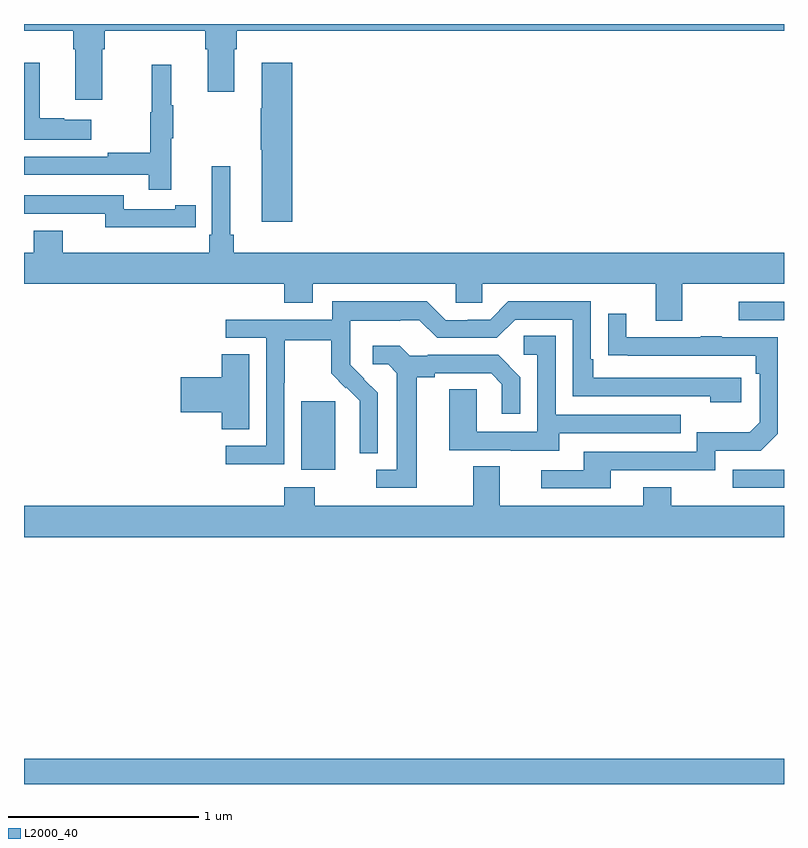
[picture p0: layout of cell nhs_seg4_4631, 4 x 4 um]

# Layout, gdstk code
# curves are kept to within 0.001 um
import gdstk
lib = gdstk.Library(unit=1e-6, precision=1e-09)
def R(c, l, rs):  # rectangles x0, y0, x1, y1
    for r in rs: c.add(gdstk.rectangle(r[:2], r[2:], *l))
def P(c, l, *ps):  # polygons
    for p in ps: c.add(gdstk.Polygon(p, *l))
L2000_40 = (2000, 40)

nhs_seg4_4631 = lib.new_cell('nhs_seg4_4631')
R(nhs_seg4_4631, L2000_40, [(361,748.9,365,749.032), (364.731,750.459,365,750.555), (362.459,750.554,362.638,750.915), (364.761,751.341,365,751.437)])
P(nhs_seg4_4631, L2000_40, [(361.411,752.768),(361.424,752.768),(361.424,752.864),(361.955,752.864),(361.955,752.768),(361.967,752.768),(361.967,752.544),(362.107,752.544),(362.107,752.768),(362.12,752.768),(362.12,752.864),(365,752.864),(365,752.9),(361,752.9),(361,752.864),(361.259,752.864),(361.259,752.768),(361.271,752.768),(361.271,752.502),(361.411,752.502)],
  [(361.354,752.395),(361.211,752.395),(361.211,752.405),(361.084,752.405),(361.084,752.695),(361,752.695),(361,752.291),(361.354,752.291)],
  [(362.411,752.695),(362.252,752.695),(362.252,752.456),(362.245,752.456),(362.245,752.239),(362.252,752.239),(362.252,751.86),(362.411,751.86)],
  [(361.775,752.299),(361.786,752.299),(361.786,752.473),(361.775,752.473),(361.775,752.686),(361.672,752.686),(361.672,752.436),(361.665,752.436),(361.665,752.222),(361.441,752.222),(361.441,752.202),(361,752.202),(361,752.106),(361.657,752.106),(361.657,752.028),(361.775,752.028)],
  [(364.465,751.532),(365,751.532),(365,751.696),(362.105,751.696),(362.105,751.792),(362.086,751.792),(362.086,752.152),(361.989,752.152),(361.989,751.792),(361.976,751.792),(361.976,751.696),(361.204,751.696),(361.204,751.813),(361.052,751.813),(361.052,751.696),(361,751.696),(361,751.532),(362.369,751.532),(362.369,751.433),(362.521,751.433),(362.521,751.532),(363.273,751.532),(363.273,751.434),(363.411,751.434),(363.411,751.532),(364.325,751.532),(364.325,751.338),(364.465,751.338)],
  [(361.796,751.83),(361.904,751.83),(361.904,751.946),(361.796,751.946),(361.796,751.926),(361.524,751.926),(361.524,751.998),(361,751.998),(361,751.902),(361.428,751.902),(361.428,751.829),(361.796,751.829)],
  [(362.37,751.012),(362.373,751.012),(362.373,751.236),(362.617,751.236),(362.617,751.061),(362.694,750.984),(362.697,750.987),(362.768,750.917),(362.768,750.794),(362.766,750.794),(362.766,750.64),(362.862,750.64),(362.862,750.958),(362.716,751.106),(362.716,751.203),(362.718,751.203),(362.718,751.337),(362.981,751.337),(362.981,751.341),(363.081,751.341),(363.174,751.248),(363.489,751.248),(363.585,751.344),(363.888,751.344),(363.888,750.942),(364.613,750.942),(364.613,750.908),(364.774,750.908),(364.774,751.038),(363.997,751.038),(363.997,751.135),(363.984,751.135),(363.984,751.44),(363.549,751.44),(363.453,751.344),(363.335,751.344),(363.335,751.341),(363.219,751.341),(363.119,751.441),(362.622,751.441),(362.622,751.344),(362.061,751.344),(362.061,751.248),(362.274,751.248),(362.274,750.681),(362.061,750.681),(362.061,750.583),(362.37,750.583)],
  [(364.087,750.552),(364.638,750.552),(364.638,750.654),(364.878,750.654),(364.968,750.744),(364.968,751.251),(364.673,751.251),(364.673,751.256),(364.561,751.256),(364.561,751.251),(364.171,751.251),(364.171,751.375),(364.075,751.375),(364.075,751.156),(364.852,751.155),(364.852,751.058),(364.872,751.058),(364.872,750.804),(364.819,750.751),(364.542,750.751),(364.542,750.648),(363.947,750.648),(363.947,750.552),(363.723,750.552),(363.723,750.456),(364.087,750.456)],
  [(363.817,750.747),(364.457,750.747),(364.457,750.843),(363.798,750.843),(363.798,751.259),(363.63,751.259),(363.63,751.158),(363.702,751.158),(363.702,750.753),(363.384,750.753),(363.384,750.977),(363.239,750.977),(363.239,750.657),(363.563,750.657),(363.563,750.653),(363.817,750.653)],
  [(363.067,751.04),(363.163,751.04),(363.163,751.062),(363.458,751.062),(363.515,751.005),(363.515,750.849),(363.612,750.849),(363.612,751.042),(363.496,751.158),(363.124,751.158),(363.124,751.155),(363.03,751.155),(362.978,751.207),(362.835,751.207),(362.835,751.11),(362.916,751.11),(362.963,751.063),(362.963,750.555),(362.853,750.555),(362.853,750.459),(363.067,750.459)],
  [(362.185,751.163),(362.042,751.163),(362.042,751.04),(361.824,751.04),(361.824,750.857),(362.042,750.857),(362.042,750.766),(362.185,750.766)],
  [(365,750.364),(364.407,750.364),(364.407,750.463),(364.259,750.463),(364.259,750.364),(363.505,750.364),(363.505,750.572),(363.365,750.572),(363.365,750.364),(362.529,750.364),(362.529,750.463),(362.369,750.463),(362.369,750.364),(361,750.364),(361,750.2),(365,750.2)])

lib.write_gds('nhs_seg4_4631.gds')
